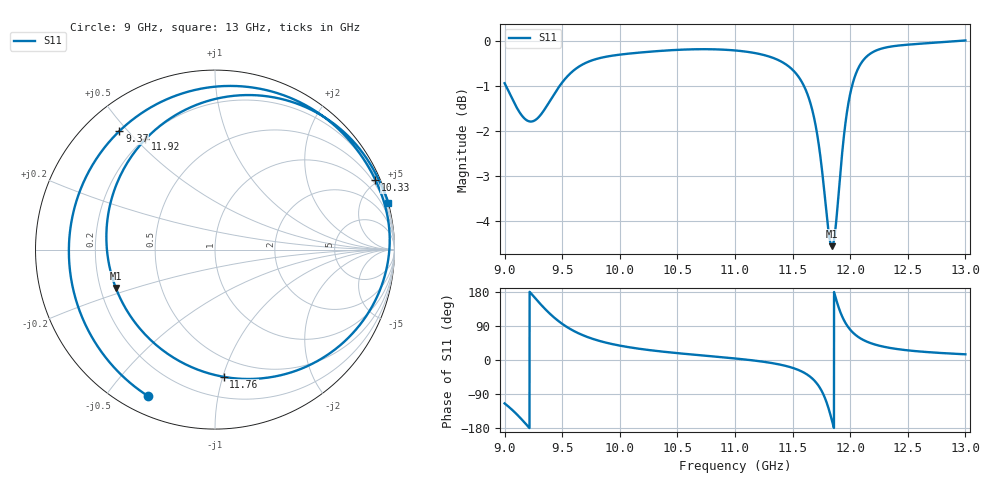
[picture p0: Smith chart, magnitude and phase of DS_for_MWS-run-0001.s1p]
! TOUCHSTONE file generated by CST DESIGN STUDIO
! Date and time: Wed Feb  5 13:40:24 2025
! Project name: C:\Work\MatlabApps\UnitCellOptimizationMatlab\CST\unitcell.cst
! Tree item: Tasks\Sweep1\SPara1\S-Parameters
! Header version: 2024
! Port assignment regex: !\s*Touchstone port\s*([0-9]+)\s*=\s*(CST MWS port|CST DES external port|CST DES block port)\s*(.+)\s* \(\"(.*)\"\)(\s*mode\s*([0-9]+))?.*
! Touchstone port assignment:
! Touchstone port 1 = CST DES external port 1 ("")
# GHz S MA R 50
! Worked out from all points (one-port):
!   4001 points, 9 GHz to 13 GHz, reference 50 ohm
!   lowest |S11| = -4.5 dB at 11.84 GHz (marker M1), VSWR 3.91, Z = 13.2 - j8.71 ohm
!   |S11| at or under -10 dB: nowhere
!   S11 on the Smith chart (normalised r, x): 9 GHz: 0.08, -0.64; 9.37 GHz: 0.10, +0.47; 10.33 GHz: 0.32, +4.81; 11.76 GHz: 0.35, -1.01; 11.92 GHz: 0.20, +0.53; 13 GHz: -0.03, +7.58
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9  0.8975 -114.5
9.091  0.85 -138.9
9.2  0.8155 -174.1
9.28  0.8195 158.1
9.37  0.8484 128.9
9.5  0.8992 95.4
9.608  0.9291 75.5
9.719  0.9471 60.7
10  0.9653 38.0
10.333  0.9742 23.4
10.5  0.9772 18.1
11  0.9757 4.1
11.297  0.9606 -6.9
11.5  0.9287 -20.7
11.654  0.8536 -44.5
11.709  0.794 -61.3
11.76  0.7104 -86.1
11.801  0.6325 -117.2
11.841  0.5924 -158.8
11.878  0.63 159.9
11.92  0.7271 122.2
11.957  0.8075 98.8
12  0.8736 80.0
12.076  0.9356 59.5
12.171  0.9671 45.3
12.303  0.9826 34.3
12.5  0.9902 25.4
13  1.001 15.0
